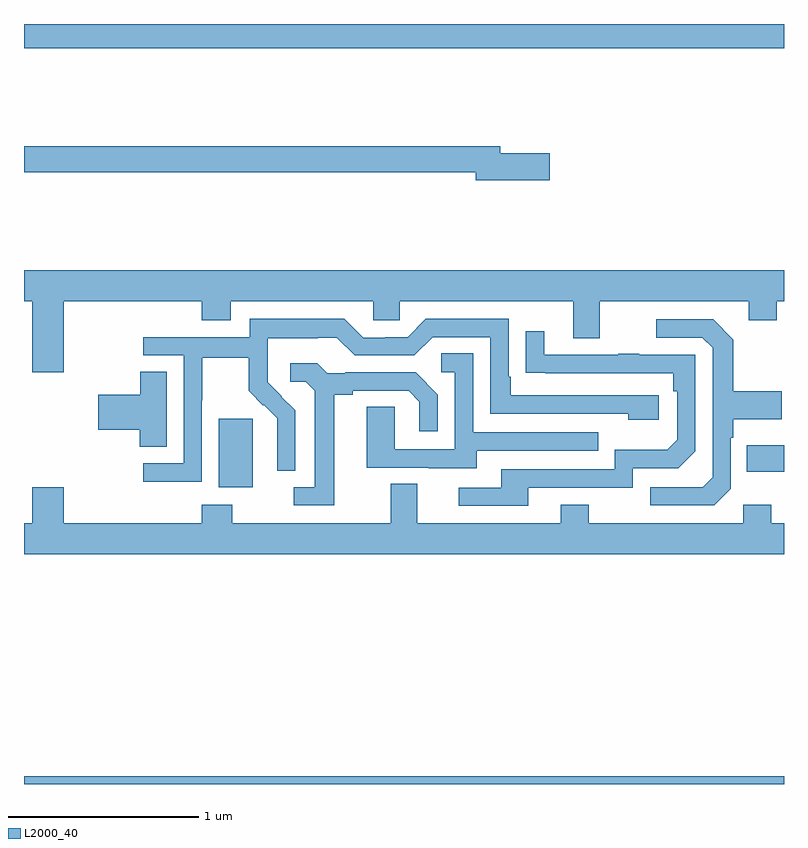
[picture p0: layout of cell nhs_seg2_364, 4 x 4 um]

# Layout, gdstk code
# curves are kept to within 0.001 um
import gdstk
lib = gdstk.Library(unit=1e-6, precision=1e-09)
def R(c, l, rs):  # rectangles x0, y0, x1, y1
    for r in rs: c.add(gdstk.rectangle(r[:2], r[2:], *l))
def P(c, l, *ps):  # polygons
    for p in ps: c.add(gdstk.Polygon(p, *l))
L2000_40 = (2000, 40)

nhs_seg2_364 = lib.new_cell('nhs_seg2_364')
R(nhs_seg2_364, L2000_40, [(129,607.8,133,607.84), (130.025,609.362,130.204,609.723), (132.805,609.443,133,609.583), (129,611.672,133,611.8)])
P(nhs_seg2_364, L2000_40, [(131.767,611.12),(131.506,611.12),(131.506,611.156),(129,611.156),(129,611.02),(131.378,611.02),(131.378,610.978),(131.767,610.978)],
  [(129.208,610.34),(129.935,610.34),(129.935,610.241),(130.087,610.241),(130.087,610.34),(130.839,610.34),(130.839,610.242),(130.977,610.242),(130.977,610.34),(131.891,610.34),(131.891,610.146),(132.031,610.146),(132.031,610.34),(132.815,610.34),(132.815,610.241),(132.963,610.241),(132.963,610.34),(133,610.34),(133,610.504),(129,610.504),(129,610.34),(129.044,610.34),(129.044,609.966),(129.208,609.966)],
  [(129.936,609.82),(129.939,609.82),(129.939,610.044),(130.183,610.044),(130.183,609.869),(130.26,609.792),(130.263,609.795),(130.334,609.725),(130.334,609.602),(130.332,609.602),(130.332,609.448),(130.428,609.448),(130.428,609.766),(130.282,609.914),(130.282,610.011),(130.284,610.011),(130.284,610.145),(130.547,610.145),(130.547,610.149),(130.647,610.149),(130.74,610.056),(131.055,610.056),(131.151,610.152),(131.454,610.152),(131.454,609.75),(132.179,609.75),(132.179,609.716),(132.34,609.716),(132.34,609.846),(131.563,609.846),(131.563,609.943),(131.55,609.943),(131.55,610.248),(131.115,610.248),(131.019,610.152),(130.901,610.152),(130.901,610.149),(130.785,610.149),(130.685,610.249),(130.188,610.249),(130.188,610.152),(129.627,610.152),(129.627,610.056),(129.84,610.056),(129.84,609.489),(129.627,609.489),(129.627,609.391),(129.936,609.391)],
  [(132.72,609.354),(132.72,609.623),(132.733,609.623),(132.733,609.719),(132.989,609.719),(132.989,609.867),(132.733,609.867),(132.733,610.139),(132.627,610.245),(132.327,610.245),(132.327,610.149),(132.57,610.149),(132.624,610.095),(132.624,609.414),(132.573,609.363),(132.297,609.363),(132.297,609.267),(132.633,609.267)],
  [(131.653,609.36),(132.204,609.36),(132.204,609.462),(132.444,609.462),(132.534,609.552),(132.534,610.059),(132.239,610.059),(132.239,610.064),(132.127,610.064),(132.127,610.059),(131.737,610.059),(131.737,610.183),(131.641,610.183),(131.641,609.964),(132.418,609.963),(132.418,609.866),(132.438,609.866),(132.438,609.612),(132.385,609.559),(132.108,609.559),(132.108,609.456),(131.513,609.456),(131.513,609.36),(131.289,609.36),(131.289,609.264),(131.653,609.264)],
  [(131.383,609.555),(132.023,609.555),(132.023,609.651),(131.364,609.651),(131.364,610.067),(131.196,610.067),(131.196,609.966),(131.268,609.966),(131.268,609.561),(130.95,609.561),(130.95,609.785),(130.805,609.785),(130.805,609.465),(131.129,609.465),(131.129,609.461),(131.383,609.461)],
  [(130.633,609.848),(130.729,609.848),(130.729,609.87),(131.024,609.87),(131.081,609.813),(131.081,609.657),(131.178,609.657),(131.178,609.85),(131.062,609.966),(130.69,609.966),(130.69,609.963),(130.596,609.963),(130.544,610.015),(130.401,610.015),(130.401,609.918),(130.482,609.918),(130.529,609.871),(130.529,609.363),(130.419,609.363),(130.419,609.267),(130.633,609.267)],
  [(129.751,609.971),(129.613,609.971),(129.613,609.848),(129.39,609.848),(129.39,609.665),(129.608,609.665),(129.608,609.574),(129.751,609.574)],
  [(133,609.172),(132.933,609.172),(132.933,609.271),(132.786,609.271),(132.786,609.172),(131.973,609.172),(131.973,609.271),(131.825,609.271),(131.825,609.172),(131.071,609.172),(131.071,609.38),(130.931,609.38),(130.931,609.172),(130.095,609.172),(130.095,609.271),(129.935,609.271),(129.935,609.172),(129.208,609.172),(129.208,609.361),(129.044,609.361),(129.044,609.172),(129,609.172),(129,609.008),(133,609.008)])

lib.write_gds('nhs_seg2_364.gds')
